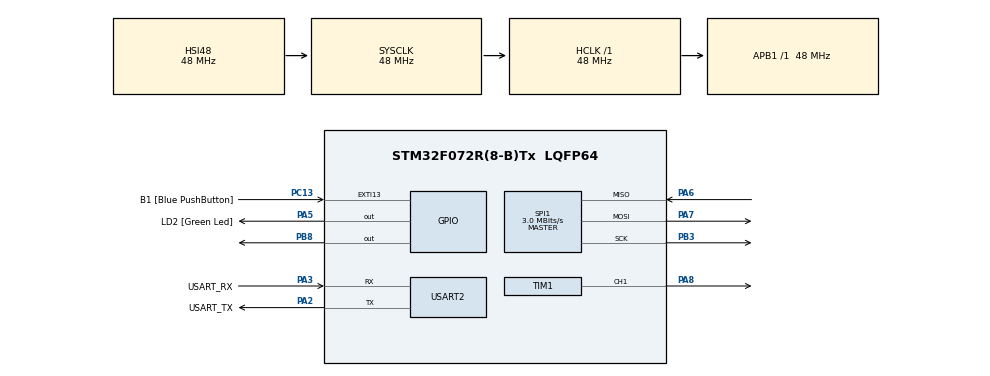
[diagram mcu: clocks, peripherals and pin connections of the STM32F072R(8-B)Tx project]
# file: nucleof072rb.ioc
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Mcu.Family=STM32F0
Mcu.Name=STM32F072R(8-B)Tx
Mcu.Package=LQFP64
PA13.GPIO_Label=TMS
PA13.Mode=Serial_Wire
PA13.Signal=SYS_SWDIO
PA14.GPIO_Label=TCK
PA14.Mode=Serial_Wire
PA14.Signal=SYS_SWCLK
PA2.GPIO_Label=USART_TX
PA2.GPIO_Mode=GPIO_MODE_AF_PP
PA2.GPIO_PuPd=GPIO_NOPULL
PA2.GPIO_Speed=GPIO_SPEED_FREQ_LOW
PA2.Mode=Asynchronous
PA2.Signal=USART2_TX
PA3.GPIO_Label=USART_RX
PA3.GPIO_Mode=GPIO_MODE_AF_PP
PA3.GPIO_PuPd=GPIO_NOPULL
PA3.GPIO_Speed=GPIO_SPEED_FREQ_LOW
PA3.Mode=Asynchronous
PA3.Signal=USART2_RX
PA5.GPIO_Label=LD2 [Green Led]
PA5.GPIO_Mode=GPIO_MODE_OUTPUT_PP
PA5.GPIO_PuPd=GPIO_NOPULL
PA5.GPIO_Speed=GPIO_SPEED_FREQ_LOW
PA5.Signal=GPIO_Output
PA6.Mode=Full_Duplex_Master
PA6.Signal=SPI1_MISO
PA7.Mode=Full_Duplex_Master
PA7.Signal=SPI1_MOSI
PA8.Signal=S_TIM1_CH1
PB3.Mode=Full_Duplex_Master
PB3.Signal=SPI1_SCK
PB8.Signal=GPIO_Output
PC13.GPIO_Label=B1 [Blue PushButton]
PC13.GPIO_ModeDefaultEXTI=GPIO_MODE_IT_FALLING
PC13.Signal=GPXTI13
PC14-OSC32_IN.Mode=LSE-External-Oscillator
PC14-OSC32_IN.Signal=RCC_OSC32_IN
PC15-OSC32_OUT.Mode=LSE-External-Oscillator
PC15-OSC32_OUT.Signal=RCC_OSC32_OUT
PF0-OSC_IN.Mode=HSE-External-Clock-Source
PF0-OSC_IN.Signal=RCC_OSC_IN
PF1-OSC_OUT.Signal=RCC_OSC_OUT
ProjectManager.HeapSize=0x200
ProjectManager.StackSize=0x400
ProjectManager.TargetToolchain=STM32CubeIDE
RCC.AHBFreq_Value=48000000
RCC.APB1Freq_Value=48000000
RCC.APB1TimFreq_Value=48000000
RCC.FLatency-AdvancedSettings=FLASH_LATENCY_1
RCC.HCLKFreq_Value=48000000
RCC.PLLDivider=RCC_PREDIV_DIV2
RCC.PLLMUL=RCC_PLL_MUL12
RCC.PREFETCH_ENABLE-AdvancedSettings=1
RCC.SYSCLKFreq_VALUE=48000000
RCC.SYSCLKSource=RCC_SYSCLKSOURCE_HSI48
SH.S_TIM1_CH1.0=TIM1_CH1,PWM Generation1 CH1
SPI1.BaudRatePrescaler=SPI_BAUDRATEPRESCALER_16
SPI1.CalculateBaudRate=3.0 MBits/s
SPI1.DataSize=SPI_DATASIZE_8BIT
SPI1.Direction=SPI_DIRECTION_2LINES
SPI1.FirstBit=SPI_FIRSTBIT_MSB
SPI1.Mode=SPI_MODE_MASTER
SPI1.VirtualType=VM_MASTER
TIM1.Channel-PWM\ Generation1\ CH1=TIM_CHANNEL_1
TIM1.Period=64000
TIM1.Prescaler=14
USART2.VirtualMode=VM_ASYNC
USART2.VirtualMode-Asynchronous=VM_ASYNC
VP_TIM1_VS_ClockSourceINT.Mode=Internal
board=NUCLEO-F072RB

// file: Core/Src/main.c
/* USER CODE BEGIN Header */
/**
  ******************************************************************************
  * @file           : main.c
  * @brief          : Main program body
  ******************************************************************************
  * @attention
  *
  * Copyright (c) 2025 STMicroelectronics.
  * All rights reserved.
  *
  * This software is licensed under terms that can be found in the LICENSE file
  * in the root directory of this software component.
  * If no LICENSE file comes with this software, it is provided AS-IS.
  *
  ******************************************************************************
  */
/* USER CODE END Header */
#include "main.h"
#include "spi.h"
#include "tim.h"
#include "usart.h"
#include "gpio.h"

/* USER CODE BEGIN Includes */
#include "stm32f0xx_hal.h"

/* USER CODE END Includes */

/* USER CODE BEGIN PD */
#define CS_GPIO_PORT GPIOB
#define CS_PIN GPIO_PIN_8

/* USER CODE END PD */

void SystemClock_Config(void);

/* USER CODE BEGIN 0 */
uint16_t ADC_Read() {
	uint8_t tx[3];
	uint8_t rx[3];

	tx[0] = 0x01;
	tx[1] = 0x90;
	tx[2] = 0x00;

	HAL_GPIO_WritePin(CS_GPIO_PORT, CS_PIN, GPIO_PIN_RESET);

	HAL_SPI_TransmitReceive(&hspi1, tx, rx, 3, HAL_MAX_DELAY);

	HAL_GPIO_WritePin(CS_GPIO_PORT, CS_PIN, GPIO_PIN_SET);

	uint16_t result = ((rx[1] & 0x03) << 8) | rx[2];

	return result;
}
/* USER CODE END 0 */

int main(void)
{

  /* MCU Configuration--------------------------------------------------------*/

  /* Reset of all peripherals, Initializes the Flash interface and the Systick. */
  HAL_Init();

  /* Configure the system clock */
  SystemClock_Config();

  /* Initialize all configured peripherals */
  MX_GPIO_Init();
  MX_USART2_UART_Init();
  MX_SPI1_Init();
  MX_TIM1_Init();
  /* USER CODE BEGIN 2 */
  HAL_TIM_PWM_Start(&htim1, TIM_CHANNEL_1);
  /* USER CODE END 2 */

  /* Infinite loop */
  /* USER CODE BEGIN WHILE */
  while (1)
  {
	  uint16_t adc_val = ADC_Read();
	  uint16_t PWM_val = 3200 + (adc_val * 3200) / 1023;

	  __HAL_TIM_SET_COMPARE(&htim1, TIM_CHANNEL_1, PWM_val);

	  HAL_Delay(10);
    /* USER CODE END WHILE */

  }
}

void SystemClock_Config(void)
{
  RCC_OscInitTypeDef RCC_OscInitStruct = {0};
  RCC_ClkInitTypeDef RCC_ClkInitStruct = {0};
  RCC_PeriphCLKInitTypeDef PeriphClkInit = {0};

  /** Initializes the RCC Oscillators according to the specified parameters
  * in the RCC_OscInitTypeDef structure.
  */
  RCC_OscInitStruct.OscillatorType = RCC_OSCILLATORTYPE_HSI48;
  RCC_OscInitStruct.HSI48State = RCC_HSI48_ON;
  RCC_OscInitStruct.PLL.PLLState = RCC_PLL_NONE;
  if (HAL_RCC_OscConfig(&RCC_OscInitStruct) != HAL_OK)
  {
    Error_Handler();
  }

  /** Initializes the CPU, AHB and APB buses clocks
  */
  RCC_ClkInitStruct.ClockType = RCC_CLOCKTYPE_HCLK|RCC_CLOCKTYPE_SYSCLK
                              |RCC_CLOCKTYPE_PCLK1;
  RCC_ClkInitStruct.SYSCLKSource = RCC_SYSCLKSOURCE_HSI48;
  RCC_ClkInitStruct.AHBCLKDivider = RCC_SYSCLK_DIV1;
  RCC_ClkInitStruct.APB1CLKDivider = RCC_HCLK_DIV1;

  if (HAL_RCC_ClockConfig(&RCC_ClkInitStruct, FLASH_LATENCY_1) != HAL_OK)
  {
    Error_Handler();
  }
  PeriphClkInit.PeriphClockSelection = RCC_PERIPHCLK_USART2;
  PeriphClkInit.Usart2ClockSelection = RCC_USART2CLKSOURCE_PCLK1;
  if (HAL_RCCEx_PeriphCLKConfig(&PeriphClkInit) != HAL_OK)
  {
    Error_Handler();
  }
}

void Error_Handler(void)
{
  __disable_irq();
  while (1)
  {
  }
}
